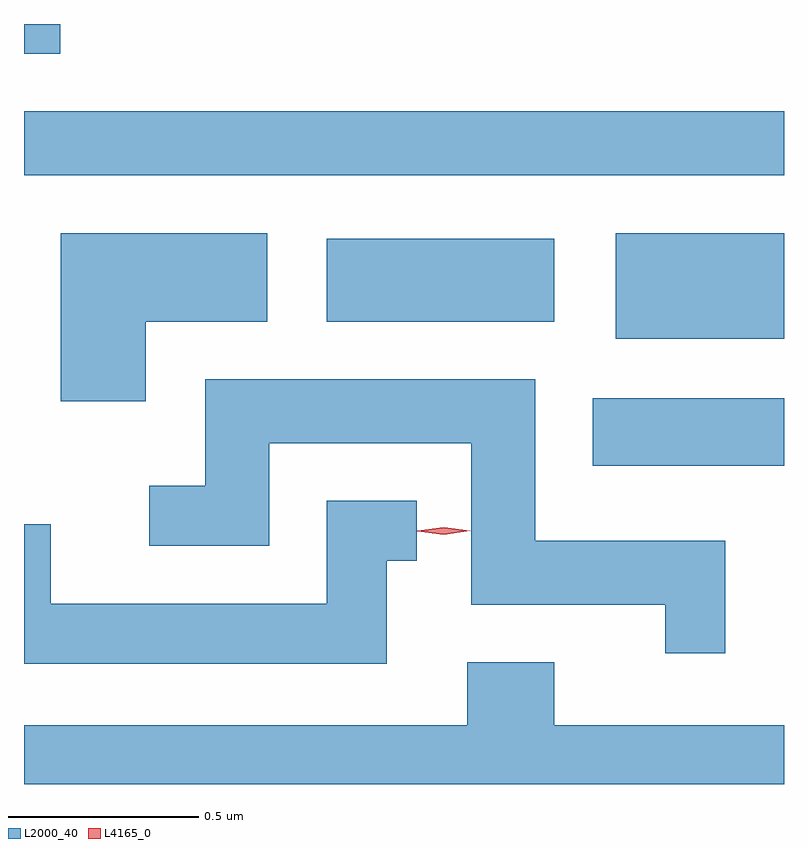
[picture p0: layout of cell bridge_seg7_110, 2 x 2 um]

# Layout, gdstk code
import gdstk
lib = gdstk.Library(unit=1e-6, precision=1e-09)
def R(c, l, rs):  # rectangles x0, y0, x1, y1
    for r in rs: c.add(gdstk.rectangle(r[:2], r[2:], *l))
def P(c, l, *ps):  # polygons
    for p in ps: c.add(gdstk.Polygon(p, *l))
L2000_40 = (2000, 40)
L4165_0 = (4165, 0)

bridge_seg7_110 = lib.new_cell('bridge_seg7_110')
R(bridge_seg7_110, L2000_40, [(1566.881,1772.986,1567.384,1773.164), (1566.941,1773.321,1567.384,1773.599), (1566.181,1773.366,1566.779,1773.584), (1565.384,1773.751,1567.384,1773.919), (1565.384,1774.071,1565.479,1774.149)])
P(bridge_seg7_110, L2000_40, [(1565.704,1773.366),(1566.024,1773.366),(1566.024,1773.599),(1565.481,1773.599),(1565.481,1773.156),(1565.704,1773.156)],
  [(1567.229,1772.789),(1566.729,1772.789),(1566.729,1773.214),(1565.861,1773.214),(1565.861,1772.934),(1565.713,1772.934),(1565.713,1772.776),(1566.029,1772.776),(1566.029,1773.046),(1566.561,1773.046),(1566.561,1772.621),(1567.071,1772.621),(1567.071,1772.493),(1567.229,1772.493)],
  [(1566.339,1772.736),(1566.418,1772.736),(1566.418,1772.894),(1566.181,1772.894),(1566.181,1772.624),(1565.454,1772.624),(1565.454,1772.833),(1565.384,1772.833),(1565.384,1772.466),(1566.339,1772.466)],
  [(1567.384,1772.304),(1566.779,1772.304),(1566.779,1772.469),(1566.551,1772.469),(1566.551,1772.304),(1565.384,1772.304),(1565.384,1772.149),(1567.384,1772.149)])
P(bridge_seg7_110, L4165_0, [(1566.488,1772.805),(1566.419,1772.814),(1566.419,1772.815),(1566.419,1772.815),(1566.488,1772.825),(1566.558,1772.816),(1566.558,1772.816),(1566.558,1772.815)])

lib.write_gds('bridge_seg7_110.gds')
